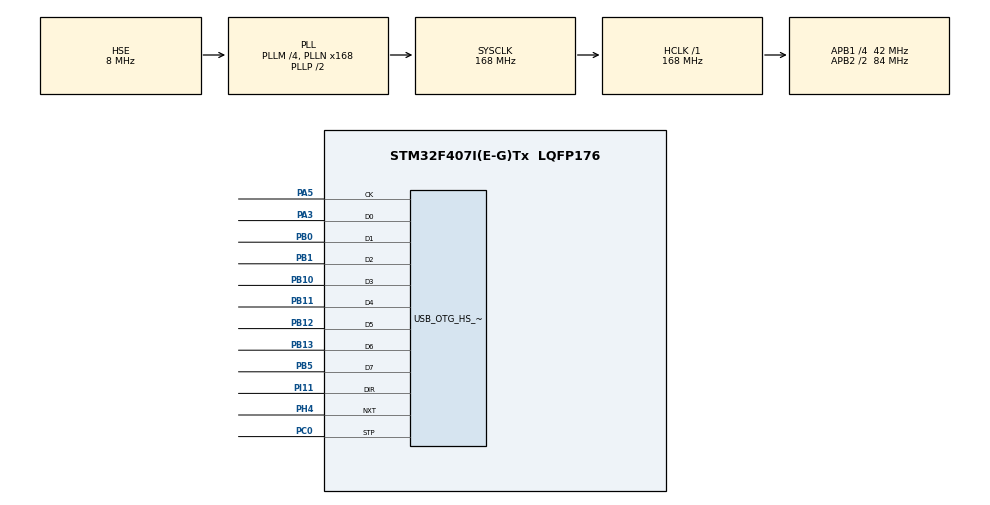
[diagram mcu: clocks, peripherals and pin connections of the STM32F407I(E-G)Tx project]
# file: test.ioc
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Mcu.Family=STM32F4
Mcu.Name=STM32F407I(E-G)Tx
Mcu.Package=LQFP176
NVIC.OTG_HS_IRQn=true\:0\:0\:false\:false\:true\:false\:true
NVIC.PriorityGroup=NVIC_PRIORITYGROUP_4
PA13.Mode=Serial_Wire
PA13.Signal=SYS_JTMS-SWDIO
PA14.Mode=Serial_Wire
PA14.Signal=SYS_JTCK-SWCLK
PA3.Mode=Device_HS
PA3.Signal=USB_OTG_HS_ULPI_D0
PA5.Mode=Device_HS
PA5.Signal=USB_OTG_HS_ULPI_CK
PB0.Mode=Device_HS
PB0.Signal=USB_OTG_HS_ULPI_D1
PB1.Mode=Device_HS
PB1.Signal=USB_OTG_HS_ULPI_D2
PB10.Mode=Device_HS
PB10.Signal=USB_OTG_HS_ULPI_D3
PB11.Mode=Device_HS
PB11.Signal=USB_OTG_HS_ULPI_D4
PB12.Mode=Device_HS
PB12.Signal=USB_OTG_HS_ULPI_D5
PB13.Mode=Device_HS
PB13.Signal=USB_OTG_HS_ULPI_D6
PB5.Mode=Device_HS
PB5.Signal=USB_OTG_HS_ULPI_D7
PC0.Mode=Device_HS
PC0.Signal=USB_OTG_HS_ULPI_STP
PH0-OSC_IN.Mode=HSE-External-Oscillator
PH0-OSC_IN.Signal=RCC_OSC_IN
PH1-OSC_OUT.Mode=HSE-External-Oscillator
PH1-OSC_OUT.Signal=RCC_OSC_OUT
PH4.Mode=Device_HS
PH4.Signal=USB_OTG_HS_ULPI_NXT
PI11.Mode=Device_HS
PI11.Signal=USB_OTG_HS_ULPI_DIR
ProjectManager.HeapSize=0x600
ProjectManager.StackSize=0x1000
ProjectManager.TargetToolchain=MDK-ARM V5.27
RCC.48MHZClocksFreq_Value=84000000
RCC.AHBFreq_Value=168000000
RCC.APB1CLKDivider=RCC_HCLK_DIV4
RCC.APB1Freq_Value=42000000
RCC.APB1TimFreq_Value=84000000
RCC.APB2CLKDivider=RCC_HCLK_DIV2
RCC.APB2Freq_Value=84000000
RCC.APB2TimFreq_Value=168000000
RCC.CortexFreq_Value=168000000
RCC.HCLKFreq_Value=168000000
RCC.HSE_VALUE=8000000
RCC.HSI_VALUE=16000000
RCC.LSE_VALUE=32768
RCC.PLLM=4
RCC.PLLN=168
RCC.PLLSourceVirtual=RCC_PLLSOURCE_HSE
RCC.SYSCLKFreq_VALUE=168000000
RCC.SYSCLKSource=RCC_SYSCLKSOURCE_PLLCLK
RCC.VCOOutputFreq_Value=336000000
USB_DEVICE.CLASS_NAME_HS=CDC
USB_DEVICE.VirtualMode-CDC_HS=Cdc
USB_DEVICE.VirtualModeHS=Cdc_HS
USB_OTG_HS.VirtualMode-Device_HS=Device_HS
USB_OTG_HS.dma_enable-Device_HS=ENABLE
VP_USB_DEVICE_VS_USB_DEVICE_CDC_HS.Mode=CDC_HS
board=custom

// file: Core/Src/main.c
/* USER CODE BEGIN Header */
/**
  ******************************************************************************
  * @file           : main.c
  * @brief          : Main program body
  ******************************************************************************
  * @attention
  *
  * <h2><center>&copy; Copyright (c) 2020 STMicroelectronics.
  * All rights reserved.</center></h2>
  *
  * This software component is licensed by ST under Ultimate Liberty license
  * SLA0044, the "License"; You may not use this file except in compliance with
  * the License. You may obtain a copy of the License at:
  *                             www.st.com/SLA0044
  *
  ******************************************************************************
  */
/* USER CODE END Header */
#include "main.h"
#include "usb_device.h"
#include "gpio.h"

/* USER CODE BEGIN Includes */
#include "usbd_cdc_if.h"
/* USER CODE END Includes */

/* USER CODE BEGIN PV */
#define TxBufSize 20480
int bSendMark = 0;				//// 发送数据的标志
uint8_t SendData[TxBufSize];

extern uint8_t UserRxBuffer[2][APP_RX_DATA_SIZE];//// 用双缓存保存数据
extern uint32_t nRxLength;		//// 接收到的数据长度
extern uint8_t uRxBufIndex;		//// 当前使用的缓冲区索引号
extern uint8_t  uLastRxBufIndex;//// 上次使用的接收缓冲区索引号
/* USER CODE END PV */

void SystemClock_Config(void);

int main(void)
{

  /* MCU Configuration--------------------------------------------------------*/

  /* Reset of all peripherals, Initializes the Flash interface and the Systick. */
  HAL_Init();

  /* Configure the system clock */
  SystemClock_Config();

  /* Initialize all configured peripherals */
  MX_GPIO_Init();
  MX_USB_DEVICE_Init();

  /* Infinite loop */
  while (1)
  {

    /* USER CODE BEGIN 3 */
		// 处理接收到的数据：解码数据流中的指令。可以改成你自己的数据处理过程。
		// 每次CDC_Itf_Receive()接收到新数据都会更换缓存，所以发现缓存切换过就是有新的数据。
		// 这里必须保证数据处理的速度足够快，否则缓存切换了两次才处理的话，就没法识别有新数据到来了。
		if (uLastRxBufIndex != uRxBufIndex)
		{
			// --> 指令译码开始。
			for (int i=0; i<nRxLength; i++)
			{
				if (UserRxBuffer[uLastRxBufIndex][i] == 0x55)	// 0x55, 开始发送数据指令
					bSendMark = 1;
				if (UserRxBuffer[uLastRxBufIndex][i] == 0xAA)	// 0xAA, 停止发送数据指令
					bSendMark = 0;
			}
			// <-- 指令译码结束。
			uLastRxBufIndex = (uLastRxBufIndex + 1) & 1;
		}

		if (bSendMark)
		{
			int32_t k = 0;
			while (CDC_Transmit_HS(SendData, TxBufSize) != USBD_OK)
				k++;
		}
  }
  /* USER CODE END 3 */
}

void SystemClock_Config(void)
{
  RCC_OscInitTypeDef RCC_OscInitStruct = {0};
  RCC_ClkInitTypeDef RCC_ClkInitStruct = {0};

  /** Configure the main internal regulator output voltage
  */
  __HAL_RCC_PWR_CLK_ENABLE();
  __HAL_PWR_VOLTAGESCALING_CONFIG(PWR_REGULATOR_VOLTAGE_SCALE1);
  /** Initializes the RCC Oscillators according to the specified parameters
  * in the RCC_OscInitTypeDef structure.
  */
  RCC_OscInitStruct.OscillatorType = RCC_OSCILLATORTYPE_HSE;
  RCC_OscInitStruct.HSEState = RCC_HSE_ON;
  RCC_OscInitStruct.PLL.PLLState = RCC_PLL_ON;
  RCC_OscInitStruct.PLL.PLLSource = RCC_PLLSOURCE_HSE;
  RCC_OscInitStruct.PLL.PLLM = 4;
  RCC_OscInitStruct.PLL.PLLN = 168;
  RCC_OscInitStruct.PLL.PLLP = RCC_PLLP_DIV2;
  RCC_OscInitStruct.PLL.PLLQ = 4;
  if (HAL_RCC_OscConfig(&RCC_OscInitStruct) != HAL_OK)
  {
    Error_Handler();
  }
  /** Initializes the CPU, AHB and APB buses clocks
  */
  RCC_ClkInitStruct.ClockType = RCC_CLOCKTYPE_HCLK|RCC_CLOCKTYPE_SYSCLK
                              |RCC_CLOCKTYPE_PCLK1|RCC_CLOCKTYPE_PCLK2;
  RCC_ClkInitStruct.SYSCLKSource = RCC_SYSCLKSOURCE_PLLCLK;
  RCC_ClkInitStruct.AHBCLKDivider = RCC_SYSCLK_DIV1;
  RCC_ClkInitStruct.APB1CLKDivider = RCC_HCLK_DIV4;
  RCC_ClkInitStruct.APB2CLKDivider = RCC_HCLK_DIV2;

  if (HAL_RCC_ClockConfig(&RCC_ClkInitStruct, FLASH_LATENCY_5) != HAL_OK)
  {
    Error_Handler();
  }
}

void Error_Handler(void)
{
}

/************************ (C) COPYRIGHT STMicroelectronics *****END OF FILE****/
